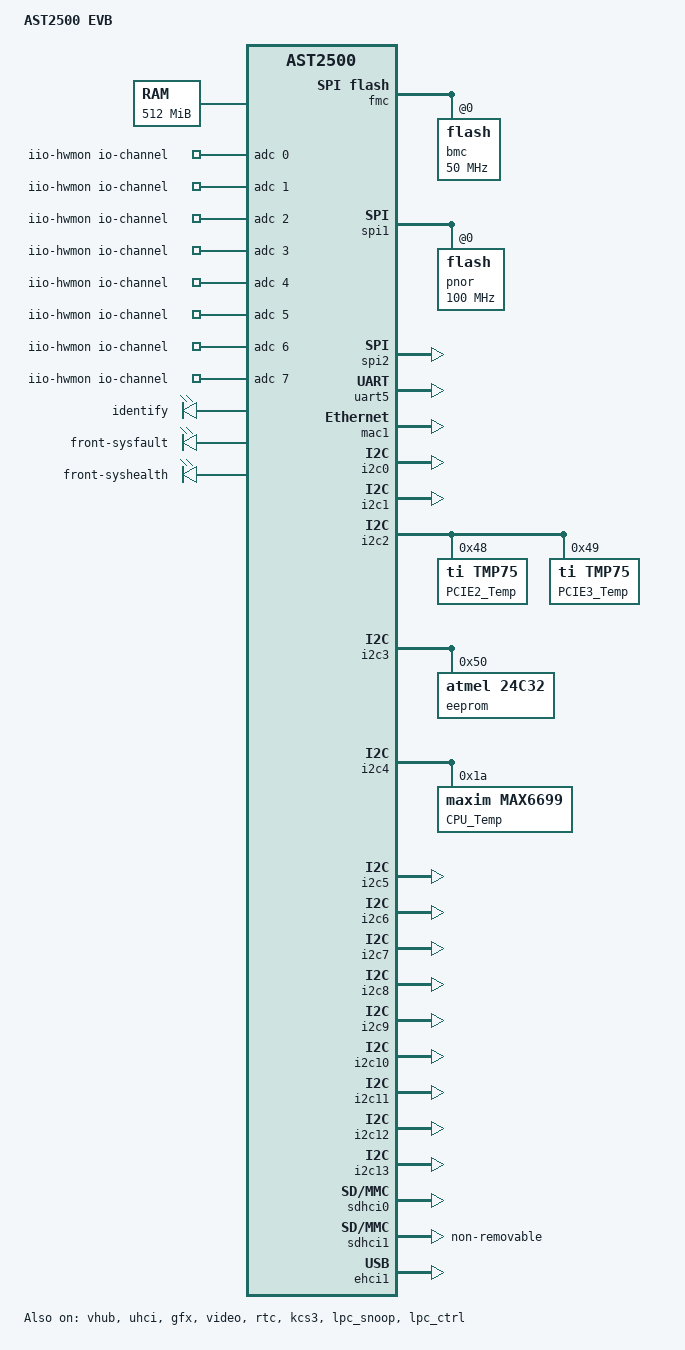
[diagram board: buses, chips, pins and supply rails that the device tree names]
// SPDX-License-Identifier: GPL-2.0+
/dts-v1/;

#include "aspeed-g5-se8.dtsi"

/ {
	model = "AST2500 EVB";
	compatible = "aspeed,ast2500-evb", "aspeed,ast2500";

	aliases {
		serial4 = &uart5;
	};

	chosen {
		stdout-path = &uart5;
		bootargs = "console=tty0 console=ttyS4,115200 earlycon";
	};

	memory@80000000 {
		reg = <0x80000000 0x20000000>;
	};

	reserved-memory {
		#address-cells = <1>;
		#size-cells = <1>;
		ranges;

		video_engine_memory: video {
			size = <0x04000000>;
			alignment = <0x01000000>;
			compatible = "shared-dma-pool";
			reusable;
		};

		gfx_memory: framebuffer {
			size = <0x01000000>;
			alignment = <0x01000000>;
			compatible = "shared-dma-pool";
			reusable;
		};
	};

	// VCore0 {
	// 	compatible = "iio-hwmon";
	// 	io-channels = <0x21 0x00>;
	// };

	// VSoc0 {
	// 	compatible = "iio-hwmon";
	// 	io-channels = <0x21 0x02>;
	// };

	// VDDIO_AB {
	// 	compatible = "iio-hwmon";
	// 	io-channels = <0x21 0x04>;
	// };

	// 1V8_VDD {
	// 	compatible = "iio-hwmon";
	// 	io-channels = <0x21 0x06>;
	// };

	// 3V_AUX {
	// 	compatible = "iio-hwmon";
	// 	io-channels = <0x21 0x09>;
	// };

	// 1V8_DUAL {
	// 	compatible = "iio-hwmon";
	// 	io-channels = <0x21 0x0b>;
	// };

	// 12V {
	// 	compatible = "iio-hwmon";
	// 	io-channels = <0x21 0x0c>;
	// };

	// 5V {
	// 	compatible = "iio-hwmon";
	// 	io-channels = <0x21 0x0d>;
	// };

	// 3V {
	// 	compatible = "iio-hwmon";
	// 	io-channels = <0x21 0x0e>;
	// };
	// VBAT {
	// 	compatible = "iio-hwmon";
	// 	io-channels = <0x21 0x0f>;
	// 	switch-gpios = <0x22 0x89 0x01>;
	// };

	iio-hwmon {
    compatible = "iio-hwmon";
    io-channels = <&adc 0>, <&adc 1>, <&adc 2>, <&adc 3>,
                  <&adc 4>, <&adc 5>, <&adc 6>, <&adc 7>,
                  <&adc 8>, <&adc 9>, <&adc 10>, <&adc 11>,
                  <&adc 12>, <&adc 13>, <&adc 14>, <&adc 15>;
	};

	// gpio-keys {
	// 	compatible = "gpio-keys";

	// 	id-button {
	// 		label = "id-button";
	// 		gpios = <0x22 0x3a 0x01>;
	// 		linux,code = <0x3a>;
	// 	};
	// };

	leds {
		compatible = "gpio-leds";

		identify {
			label = "identify";
			gpios = <0x22 0x39 0x01>;
		};

		front-sysfault {
			label = "front-sysfault";
			gpios = <0x22 0x48 0x01>;
		};

		front-syshealth {
			label = "front-syshealth";
			gpios = <0x22 0x49 0x01>;
		};
	};
};

&fmc {
	status = "okay";
	flash@0 {
		status = "okay";
		m25p,fast-read;
		label = "bmc";
		spi-max-frequency = <50000000>;
#include "aspeed-se8-flash-layout.dtsi"
	};
};

&spi1 {
	status = "okay";
	flash@0 {
		status = "okay";
		m25p,fast-read;
		label = "pnor";
		spi-max-frequency = <100000000>;
	};
};

&spi2 {
	status = "okay";
};

&uart5 {
	status = "okay";
};

&mac0 {
	status = "disabled";

	pinctrl-names = "default";
	pinctrl-0 = <&pinctrl_rgmii1_default &pinctrl_mdio1_default>;
};

&mac1 {
	status = "okay";

	pinctrl-names = "default";
	pinctrl-0 = <&pinctrl_rgmii2_default &pinctrl_mdio2_default>;
};

//BMC <--> HOST，AMPL
&i2c0 {
	status = "okay";
};
&i2c1 {
	status = "okay";
};
&i2c2 {
	status = "okay";
	PCIE2_Temp {
		compatible = "ti,tmp75";
		reg = <0x48>;
	};

	PCIE3_Temp {
		compatible = "ti,tmp75";
		reg = <0x49>;
	};
};
&i2c3 {
	status = "okay";

	eeprom@50 {
		compatible = "atmel,24c32";
		pagesize = <0x20>;
		reg = <0x50>;
	};
};
&i2c4 {
	status = "okay";
	CPU_Temp@1a {
		compatible = "maxim,max6699";
		reg = <0x1a>;
		smbus-timeout-disable;
		resistance-cancellation;
		alert-mask = <0x72>;
		over-temperature-mask = <0x7f>;
	};
};
&i2c5 {
	status = "okay";

};
&i2c6 {
	status = "okay";
};
&i2c7 {
	status = "okay";
};
&i2c8 {
	status = "okay";
};
&i2c9 {
	status = "okay";
};

&i2c10 {
	status = "okay";
};
&i2c11 {
	status = "okay";
};
&i2c12 {
	status = "okay";
};
&i2c13 {
	status = "okay";
};

&sdhci0 {
	status = "okay";

	pinctrl-names = "default";
	pinctrl-0 = <&pinctrl_sd1_default>;
};

&sdhci1 {
	status = "okay";

	non-removable;
	pinctrl-names = "default";
	pinctrl-0 = <&pinctrl_sd2_default>;
};

/*
 * Enable port A as device (via the virtual hub) and port B as
 * host by default on the eval board. This can be easily changed
 * by replacing the override below with &ehci0 { ... } to enable
 * host on both ports.
 */
&vhub {
	status = "okay";
};

&ehci1 {
	status = "okay";
};

&uhci {
	status = "okay";
};

&gfx {
     status = "okay";
     memory-region = <&gfx_memory>;
};

&video {
	status = "okay";
	memory-region = <&video_engine_memory>;
};

&rtc {
	status = "okay";
};


&kcs3 {
	status = "okay";
	kcs-io-addr = <0xca2>;
	kcs-channel = <3>;
};


&lpc_snoop {
	status = "okay";
	snoop-ports = <0x80>;
};

&lpc_ctrl {
	status = "okay";
};
// share IRQ witch kcs3 !!!
// &ibt {
// 	status = "okay";
// };
